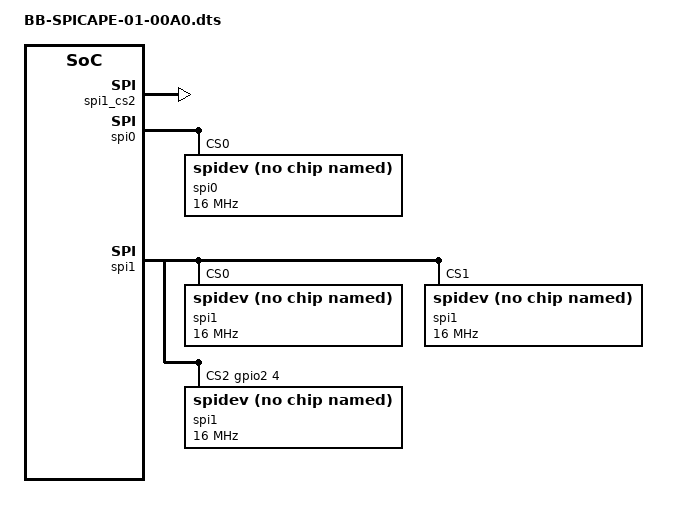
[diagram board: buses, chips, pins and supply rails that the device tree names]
// Copyright (c) 2015, iAchieved.it LLC
// Permission to use, copy, modify, and/or distribute this software for any
// purpose with or without fee is hereby granted, provided that the above
// copyright notice and this permission notice appear in all copies.
// THE SOFTWARE IS PROVIDED "AS IS" AND THE AUTHOR DISCLAIMS ALL WARRANTIES
// WITH REGARD TO THIS SOFTWARE INCLUDING ALL IMPLIED WARRANTIES OF
// MERCHANTABILITY AND FITNESS. IN NO EVENT SHALL THE AUTHOR BE LIABLE FOR ANY
// SPECIAL, DIRECT, INDIRECT, OR CONSEQUENTIAL DAMAGES OR ANY DAMAGES
// WHATSOEVER RESULTING FROM LOSS OF USE, DATA OR PROFITS, WHETHER IN AN ACTION
// OF CONTRACT, NEGLIGENCE OR OTHER TORTIOUS ACTION, ARISING OUT OF OR IN
// CONNECTION WITH THE USE OR PERFORMANCE OF THIS SOFTWARE.
/dts-v1/;
/plugin/;

/ {
  compatible = "ti,beaglebone", "ti,beaglebone-black";
  
  /* identification */
  part-number = "BB-SPICAPE-01";
  version = "00A0";
  
  /* state the resources this cape uses */
  exclusive-use =
    /* the pin header uses */
    "P9.17", /* spi0_cs0 */
    "P9.18", /* spi0_d1 */
    "P9.21", /* spi0_d0 */
    "P9.22", /* spi0_sclk */
    "P9.28", /* spi1_cs0 */
    "P9.29", /* spi1_d0 */
    "P9.30", /* spi1_d1 */
    "P9.31", /* spi1_sclk */
    "P9.42", /* spi1_cs1 */
    "P8.10", /* spi1_cs2, but not really */
    /* the hardware ip uses */
    "spi0",
    "spi1",
    "gpio2_4";

  fragment@0 {
    target = <&am33xx_pinmux>;

    __overlay__ {
		
      /* avoid stupid warning */
#address-cells = <1>;
#size-cells = <1>;

   my_gpio_pins: pinmux_my_gpio_pins {
	pinctrl-single,pins = <
	/* the gpio pin(s) */
	  0x098 0x17    /* P8 10 gpio2_4.spi1_cs2 OUTPUT_PULLUP | MODE7 */
	>;
   };

    bb_spi0_pins: pinmux_bb_spi0_pins {
	pinctrl-single,pins = <
	  0x150 0x30	/* spi0_sclk.spi0_sclk, INPUT_PULLUP | MODE0 */
	  0x154 0x30	/* spi0_d0.spi0_d0, INPUT_PULLUP | MODE0 */
	  0x158 0x10	/* spi0_d1.spi0_d1, OUTPUT_PULLUP | MODE0 */
	  0x15c 0x10	/* spi0_cs0.spi0_cs0, OUTPUT_PULLUP | MODE0 */
	  >;
      };

    bb_spi1_pins: pinmux_bb_spi1_pins {
	pinctrl-single,pins = <
	  0x190 0x33	/* mcasp0_aclkx.spi1_sclk, INPUT_PULLUP | MODE3 */
	  0x194 0x33	/* mcasp0_fsx.spi1_d0, INPUT_PULLUP | MODE3 */
	  0x198 0x13	/* mcasp0_axr0.spi1_d1, OUTPUT_PULLUP | MODE3 */
	  0x19c 0x13	/* mcasp0_ahclkr.spi1_cs0, OUTPUT_PULLUP | MODE3 */
	  0x164 0x12	/* eCAP0_in_PWM0_out.spi1_cs1 OUTPUT_PULLUP | MODE2 */
	  >;
      };

    };
  };

  fragment@1 {
    target = <&ocp>;
    __overlay__ {
      spi1_cs2 {
      compatible = "gpio-of-helper";
      status = "okay";
      pinctrl-names = "default";
      pinctrl-0 = <>;
  
      P8_10 {
        gpio-name = "spi1_cs2";
        gpio = <&gpio2 4 0>;
        output;
        init-high;
      };
    };
    };
  };

  fragment@2 {
    target = <&spi0>;	/* spi0 is numbered correctly */
    __overlay__ {
      status = "okay";
      pinctrl-names = "default";
      pinctrl-0 = <&bb_spi0_pins>;

#address-cells = <1>;
#size-cells = <0>;

      spi0@0{
#address-cells = <1>;
#size-cells = <0>;
	compatible = "spidev";
	reg = <0>;
	spi-max-frequency = <16000000>;
	spi-cpol;
	spi-cpha;          
      };
    };
  };

  fragment@3 {
    target-path = "/ocp/interrupt-controller@48200000";
    __overlay__ {
#gpio-cells = <2>;
    };
  };

  fragment@4 {
    target = <&spi1>;	/* spi1 is numbered correctly */
    __overlay__ {
      status = "okay";
      pinctrl-names = "default";
      pinctrl-0 = <&bb_spi1_pins>;

#address-cells = <1>;
#size-cells = <0>;

      cs-gpios = <0>, <1>, <&gpio2 4 0>;

      spi1@0 {
#address-cells = <1>;
#size-cells = <0>;
	compatible = "spidev";
	reg = <0>;
	spi-max-frequency = <16000000>;
	spi-cpol;
	spi-cpha;          
      };

      spi1@1 {
#address-cells = <1>;
#size-cells = <0>;
	compatible = "spidev";
	reg = <1>;
	spi-max-frequency = <16000000>;
	spi-cpol;
	spi-cpha;
      };

      spi1@2 {
#address-cells = <1>;
#size-cells = <0>;
	compatible = "spidev";
	reg = <2>;
	spi-max-frequency = <16000000>;
	spi-cpol;
	spi-cpha;
      };
    };
  };
 };
